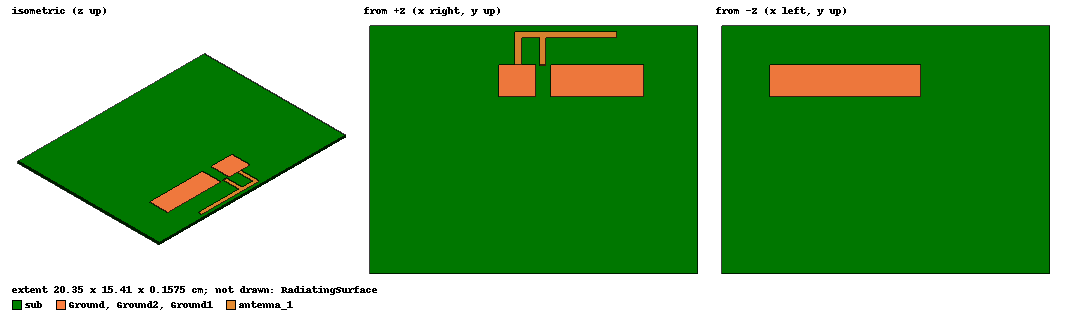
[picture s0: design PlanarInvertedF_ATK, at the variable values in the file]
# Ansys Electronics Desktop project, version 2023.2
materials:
  vacuum: permittivity=1
  FR4_epoxy: permittivity=4.4 dielectric_loss_tangent=0.02

design PlanarInvertedF_ATK (HFSS, HFSS Hybrid Terminal Network, model units cm)
options: Allow_Material_Override Save_Adaptive_support_files open_region{BoundaryType=0 OpFreq=0.915GHz}
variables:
  # --Antenna Dimensions
  Length1 = 6.32cm
  Length2 = 2.03cm
  Antenna_Trace_Width = 0.38cm
  Antenna_Offset = 1.14cm
  # --Substrate Dimensions
  subH = 0.1575cm
  subX = 12.7cm
  subY = 25.4cm
  # --Feed Dimensions
  Feed_Offset = -1.27cm
  Feed_Length = 0.038cm
  Feed_Width = 0.381cm
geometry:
  sub [FR4_epoxy] = box(corner=(-12cm, -13cm, 0cm), size=(subX/2+14cm, 15.41cm, -subH))
  Ground = rectangle(corner=(-4cm, -2cm, -subH), x_size=subX/2+3cm, y_size=2cm)
  antenna_1 = rectangle(corner=(-Antenna_Trace_Width/2+Feed_Offset, 0cm, 0cm), x_size=Antenna_Trace_Width, y_size=Length2)
  NewObject_DR9GJY = rectangle(corner=(-Antenna_Trace_Width/2-Antenna_Offset+Feed_Offset, 0cm, 0cm), x_size=-Antenna_Trace_Width, y_size=Length2)
  antenna = rectangle(corner=(-Antenna_Trace_Width/2-Antenna_Offset-Antenna_Trace_Width+Feed_Offset, Length2, 0cm), x_size=Length1, y_size=-Antenna_Trace_Width)
  microstrip_feed = rectangle(corner=(-Feed_Width/2+Feed_Offset, 0cm, 0cm), x_size=Feed_Width, y_size=-0.1cm)
  port1 = rectangle(corner=(-Feed_Width/2+Feed_Offset, -0.1cm, 0cm), z_size=-subH, x_size=Feed_Width)
  RadiatingSurface [vacuum] = region(absolute_offset=10.928962cm on all sides)
  antenna_1.unite(antenna, NewObject_DR9GJY)
  Ground1 = rectangle(corner=(-4cm, -2cm, 0), x_size=2.3cm, y_size=2cm)
  Ground2 = rectangle(corner=(-0.8cm, -2cm, 0), x_size=5.8cm, y_size=2cm)
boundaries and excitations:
  groundMetal: Perfect E Objects=Ground
  feedMetal: Perfect E Objects=microstrip_feed
  AutoOpen1: Radiation Objects=RadiatingSurface
  antenna: Perfect E Objects=antenna_1
  groundMetal1: Perfect E Objects=Ground1
  groundMetal2: Perfect E Objects=Ground2
  microstrip_feed_T1: Terminal port=1 Edges=microstrip_feed.edge(at (-1.27, -0.1, 0)) TerminalResistance=50ohm
  1: Lumped Port Faces=port1.face LumpedPortType=Terminal Impedance=50ohm
  reference conductors: Ground
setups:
  ATK_Solution: HfssDriven Frequency=0.915GHz MaxDeltaS=0.02 MaximumPasses=15 MinimumPasses=1 MinimumConvergedPasses=1 PercentRefinement=30 BasisOrder=1 PortAccuracy=2 DrivenSolverType="Direct Solver" IESolverType=ACA
    sweep FF_Sweep: 0.4575GHz to 1.3725GHz, 3 points; Type=Discrete SaveFields
    sweep SParam_Sweep: 0.4575GHz to 1.3725GHz, 100 points; Type=Interpolating InterpTolerance=0.5 InterpMaxSolns=250 PassivityErrorTolerance=0.0001
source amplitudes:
  1:1: 1 0
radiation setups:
  3D: Infinite Sphere Theta=0deg..180deg step 2deg Phi=-180deg..180deg step 2deg
  Elevation: Infinite Sphere Theta=-180deg..180deg step 1deg Phi=0deg..90deg step 90deg
  Azimuth: Infinite Sphere Theta=90deg..90deg step 0deg Phi=-180deg..180deg step 1deg
  ATK_2D: Infinite Sphere Theta=-180deg..180deg step 1deg Phi=0deg..90deg step 90deg
  ATK_3D: Infinite Sphere Theta=-180deg..180deg step 2deg Phi=0deg..180deg step 5deg
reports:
  ff_3D_GainTotal: dB(GainTotal) vs Phi, Theta on ATK_Solution : LastAdaptive, ATK_3D [Freq=9.15e+08]
  ff_2D_GainTotal: dB(GainTotal) vs Theta on ATK_Solution : LastAdaptive, ATK_2D [Phi=all Freq=9.15e+08]
  ff_2D_GainTotal_Stacked: dB(GainTotal) vs Theta on ATK_Solution : FF_Sweep, ATK_2D [Phi=all Freq=all]
  Return Loss: dB(St11) vs Freq on ATK_Solution : SParam_Sweep
  Input Impedance: St11 on ATK_Solution : SParam_Sweep [Freq=all]
  Terminal S Parameter Plot 1: dB(St(microstrip_feed_T1,microstrip_feed_T1)) vs Freq on ATK_Solution : FF_Sweep
  Terminal S Parameter Plot 2: dB(St(microstrip_feed_T1,microstrip_feed_T1)) vs Freq on ATK_Solution : FF_Sweep
  Gain Plot 1: dB(GainTotal) vs Theta on ATK_Solution : LastAdaptive, 3D [Phi=all Freq=0.915GHz]
  Gain Plot 2: dB(GainTotal) vs Phi, Theta on ATK_Solution : LastAdaptive, 3D [Freq=0.915GHz]
  Terminal S Parameter Plot 3: dB(St(microstrip_feed_T1,microstrip_feed_T1)) vs Freq on ATK_Solution : FF_Sweep
  Terminal S Parameter Plot 4: dB(St(microstrip_feed_T1,microstrip_feed_T1)) vs Freq on ATK_Solution : FF_Sweep
  Gain Plot 3: dB(GainTotal) vs Phi, Theta on ATK_Solution : LastAdaptive, 3D [Freq=0.915GHz]
  Terminal S Parameter Plot 5: dB(St(microstrip_feed_T1,microstrip_feed_T1)) vs Freq on ATK_Solution : FF_Sweep
  Terminal S Parameter Plot 6: dB(St(microstrip_feed_T1,microstrip_feed_T1)) vs Freq on ATK_Solution : FF_Sweep
  Terminal S Parameter Plot 7: dB(St(microstrip_feed_T1,microstrip_feed_T1)) vs Freq on ATK_Solution : FF_Sweep
  Terminal S Parameter Plot 8: dB(St(microstrip_feed_T1,microstrip_feed_T1)) vs Freq on ATK_Solution : FF_Sweep
  Terminal S Parameter Plot 9: dB(St(microstrip_feed_T1,microstrip_feed_T1)) vs Freq on ATK_Solution : FF_Sweep
  Terminal S Parameter Plot 10: dB(St(microstrip_feed_T1,microstrip_feed_T1)) vs Freq on ATK_Solution : FF_Sweep
  Gain Plot 4: dB(GainTotal) vs Phi, Theta on ATK_Solution : LastAdaptive, 3D [Freq=0.915GHz]
  Terminal S Parameter Plot 11: dB(St(microstrip_feed_T1,microstrip_feed_T1)) vs Freq on ATK_Solution : FF_Sweep
  Terminal S Parameter Plot 12: dB(St(microstrip_feed_T1,microstrip_feed_T1)) vs Freq on ATK_Solution : FF_Sweep
  Terminal S Parameter Plot 13: dB(St(microstrip_feed_T1,microstrip_feed_T1)) vs Freq on ATK_Solution : FF_Sweep
  Terminal S Parameter Plot 14: dB(St(microstrip_feed_T1,microstrip_feed_T1)) vs Freq on ATK_Solution : FF_Sweep
  Terminal S Parameter Plot 15: dB(St(microstrip_feed_T1,microstrip_feed_T1)) vs Freq on ATK_Solution : FF_Sweep
  Terminal S Parameter Plot 16: dB(St(microstrip_feed_T1,microstrip_feed_T1)) vs Freq on ATK_Solution : FF_Sweep
  Gain Plot 5: dB(GainTotal) vs Phi, Theta on ATK_Solution : LastAdaptive, 3D [Freq=0.915GHz]
  Terminal S Parameter Plot 17: dB(St(microstrip_feed_T1,microstrip_feed_T1)) vs Freq on ATK_Solution : FF_Sweep
  Terminal S Parameter Plot 18: dB(St(microstrip_feed_T1,microstrip_feed_T1)) vs Freq on ATK_Solution : FF_Sweep
  Terminal S Parameter Plot 19: dB(St(microstrip_feed_T1,microstrip_feed_T1)) vs Freq on ATK_Solution : FF_Sweep
  Terminal S Parameter Plot 20: dB(St(microstrip_feed_T1,microstrip_feed_T1)) vs Freq on ATK_Solution : FF_Sweep
  Terminal S Parameter Plot 21: dB(St(microstrip_feed_T1,microstrip_feed_T1)) vs Freq on ATK_Solution : FF_Sweep
  Terminal S Parameter Plot 22: dB(St(microstrip_feed_T1,microstrip_feed_T1)) vs Freq on ATK_Solution : FF_Sweep
  Terminal S Parameter Plot 23: dB(St(microstrip_feed_T1,microstrip_feed_T1)) vs Freq on ATK_Solution : FF_Sweep
  Terminal S Parameter Plot 24: dB(St(microstrip_feed_T1,microstrip_feed_T1)) vs Freq on ATK_Solution : FF_Sweep
  Terminal S Parameter Plot 25: dB(St(microstrip_feed_T1,microstrip_feed_T1)) vs Freq on ATK_Solution : FF_Sweep
  Terminal S Parameter Plot 26: dB(St(microstrip_feed_T1,microstrip_feed_T1)) vs Freq on ATK_Solution : FF_Sweep
  Terminal S Parameter Plot 27: dB(St(microstrip_feed_T1,microstrip_feed_T1)) vs Freq on ATK_Solution : FF_Sweep
  Terminal S Parameter Plot 28: dB(St(microstrip_feed_T1,microstrip_feed_T1)) vs Freq on ATK_Solution : FF_Sweep
  Gain Plot 6: dB(GainTotal) vs Phi, Theta on ATK_Solution : LastAdaptive, 3D [Freq=0.915GHz]
  Terminal S Parameter Plot 29: dB(St(microstrip_feed_T1,microstrip_feed_T1)) vs Freq on ATK_Solution : FF_Sweep
  Terminal S Parameter Plot 30: dB(St(microstrip_feed_T1,microstrip_feed_T1)) vs Freq on ATK_Solution : FF_Sweep
  Terminal S Parameter Plot 31: dB(St(microstrip_feed_T1,microstrip_feed_T1)) vs Freq on ATK_Solution : FF_Sweep
  Terminal S Parameter Plot 32: dB(St(microstrip_feed_T1,microstrip_feed_T1)) vs Freq on ATK_Solution : FF_Sweep
  Terminal S Parameter Plot 33: dB(St(microstrip_feed_T1,microstrip_feed_T1)) vs Freq on ATK_Solution : FF_Sweep
  Terminal S Parameter Plot 34: dB(St(microstrip_feed_T1,microstrip_feed_T1)) vs Freq on ATK_Solution : FF_Sweep
  Terminal S Parameter Plot 35: dB(St(microstrip_feed_T1,microstrip_feed_T1)) vs Freq on ATK_Solution : FF_Sweep
  Terminal S Parameter Plot 36: dB(St(microstrip_feed_T1,microstrip_feed_T1)) vs Freq on ATK_Solution : FF_Sweep
  Terminal S Parameter Plot 37: dB(St(microstrip_feed_T1,microstrip_feed_T1)) vs Freq on ATK_Solution : FF_Sweep
  Terminal S Parameter Plot 38: dB(St(microstrip_feed_T1,microstrip_feed_T1)) vs Freq on ATK_Solution : FF_Sweep
  Terminal S Parameter Plot 39: dB(St(microstrip_feed_T1,microstrip_feed_T1)) vs Freq on ATK_Solution : FF_Sweep
  Terminal S Parameter Plot 40: dB(St(microstrip_feed_T1,microstrip_feed_T1)) vs Freq on ATK_Solution : FF_Sweep
  Terminal S Parameter Plot 41: dB(St(microstrip_feed_T1,microstrip_feed_T1)) vs Freq on ATK_Solution : FF_Sweep
  Terminal S Parameter Plot 42: dB(St(microstrip_feed_T1,microstrip_feed_T1)) vs Freq on ATK_Solution : FF_Sweep
  Terminal S Parameter Plot 43: dB(St(microstrip_feed_T1,microstrip_feed_T1)) vs Freq on ATK_Solution : FF_Sweep
  Terminal S Parameter Plot 44: dB(St(microstrip_feed_T1,microstrip_feed_T1)) vs Freq on ATK_Solution : FF_Sweep
  Terminal S Parameter Plot 45: dB(St(microstrip_feed_T1,microstrip_feed_T1)) vs Freq on ATK_Solution : FF_Sweep
  Terminal S Parameter Plot 46: dB(St(microstrip_feed_T1,microstrip_feed_T1)) vs Freq on ATK_Solution : FF_Sweep
  Terminal S Parameter Plot 47: dB(St(microstrip_feed_T1,microstrip_feed_T1)) vs Freq on ATK_Solution : FF_Sweep
  Terminal S Parameter Plot 48: dB(St(microstrip_feed_T1,microstrip_feed_T1)) vs Freq on ATK_Solution : FF_Sweep
